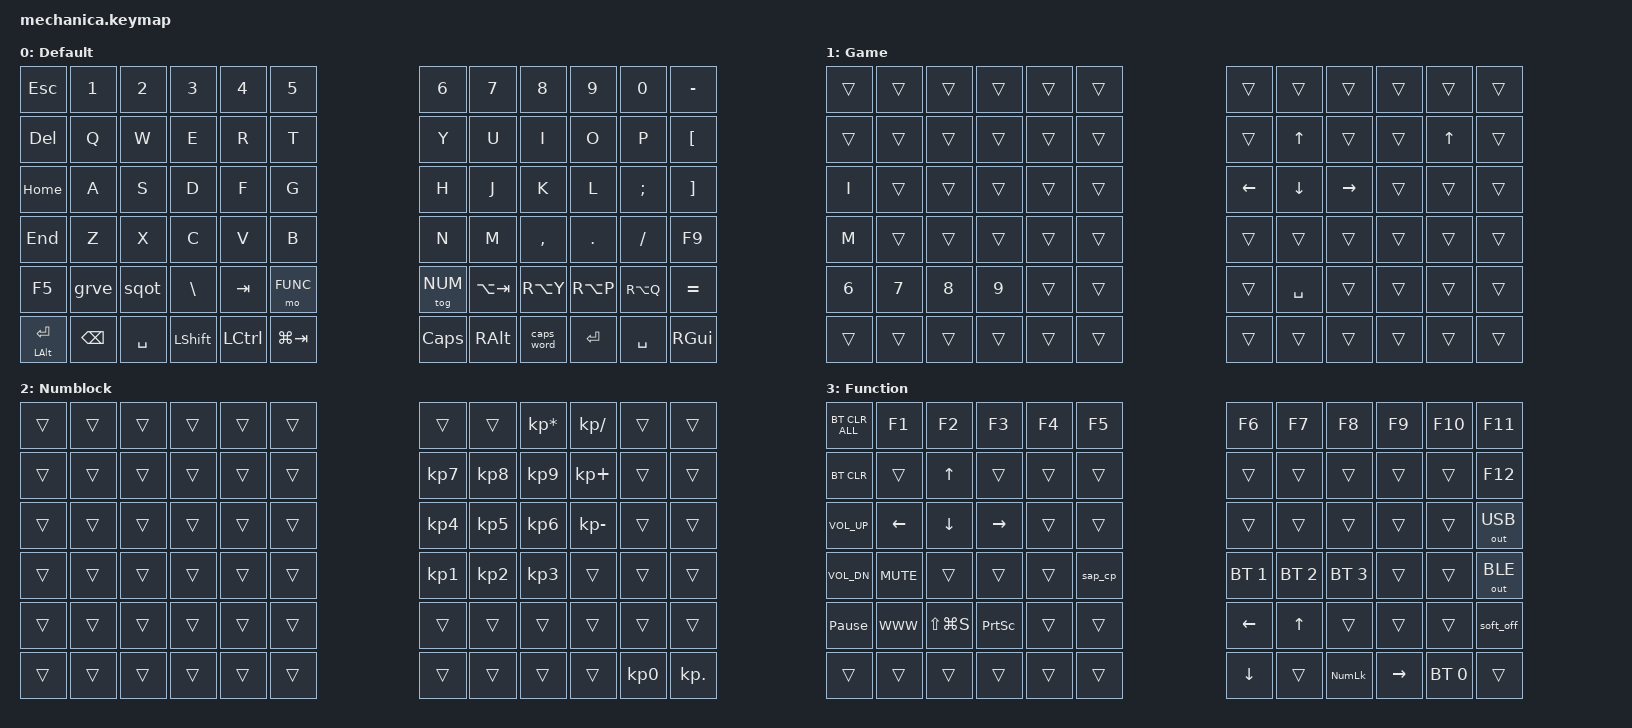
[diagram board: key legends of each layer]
#include <behaviors.dtsi>
#include <dt-bindings/zmk/keys.h>
#include <dt-bindings/zmk/bt.h>
#include <dt-bindings/zmk/rgb.h>
#include <dt-bindings/zmk/outputs.h>

#define DEFAULT 0
#define GAME    1
#define NUM     2
#define FUNC    3


#define COMBO(name, kp, pos) \
combo_##name {               \
    timeout-ms    = <30>;    \
    bindings      = <kp>;    \
    key-positions = <pos>;   \
    layers        = <0 1>;   \
};
/* Key positions
 0  1  2  3  4  5 48       59  6  7  8  9 10 11
12 13 14 15 16 17 49       58 18 19 20 21 22 23
24 25 26 27 28 29 50       57 30 31 32 33 34 35
36 37 38 39 40 41 51       56 42 43 44 45 46 47
         60 61 62             69 70 71
             64 65 52     55 66 67
            63       53  54       68
*/
&soft_off {
    hold-time-ms = <2000>; // Only turn off it the key is held for 5 seconds or longer.
};

/ {
    combos {
        compatible = "zmk,combos";
        COMBO(boot,   &bootloader,   11 47)
        COMBO(autotype,&kp LC(LA(A)),24 25)
        COMBO(grve, &kp GRAVE,       17 49)
        COMBO(sqot, &kp SQT,         29 50)
        COMBO(game, &tog GAME,       11 23)
        COMBO(deskr, &kp LG(LC(RIGHT)), 55 69)
        COMBO(deskl, &kp LG(LC(LEFT)), 54 55)
    };
};

/ {
    macros {
        sap_cp: sap_cp {
            compatible = "zmk,behavior-macro";
            #binding-cells = <0>;
            bindings
                = <&kp LC(F11)>
                , <&macro_pause_for_release>
                , <&kp LC(F12)>
                ;
        };
        grve: grve {
            compatible = "zmk,behavior-macro";
            #binding-cells = <0>;
            bindings
                = <&kp GRAVE>
                , <&kp SPACE>
                ;
        };
        sqot: sqot {
            compatible = "zmk,behavior-macro";
            #binding-cells = <0>;
            bindings
                = <&kp SQT>
                , <&kp SPACE>
                ;
        };
    };
};

/ {
        keymap {
                compatible = "zmk,keymap";

                default_layer {
                    display-name = "Default";
                        bindings = <
// -----0---------1---------2---------3---------4---------5-------------------------6---------7---------8---------9--------10--------11-----
// |   ESC   |    1    |    2    |    3    |    4    |    5    |               |    6    |    7    |    8    |    9    |    0    |    -    |
    &kp ESC    &kp N1    &kp N2   &kp N3    &kp N4    &kp N5                    &kp N6     &kp N7    &kp N8    &kp N9    &kp N0    &kp MINUS
// ----12--------13--------14--------15--------16--------17------------------------18--------19--------20--------21--------22--------23-----
// |   DEL   |    Q    |    W    |    E    |    R    |    T    |               |    Y    |    U    |    I    |    O    |    P    |    [    |
    &kp DEL    &kp Q     &kp W     &kp E     &kp R     &kp T                     &kp Y      &kp U     &kp I     &kp O     &kp P     &kp LBKT
// ----24--------25--------26--------27--------28--------29------------------------30--------31--------32--------33--------34--------35-----
// |   HOME  |    A    |    S    |    D    |    F    |    G    |               |    H    |    J    |    K    |    L    |    ;    |    ]    |
    &kp HOME   &kp A     &kp S     &kp D     &kp F     &kp G                     &kp H      &kp J     &kp K     &kp L     &kp SEMI  &kp RBKT
// ----36--------37--------38--------39--------40--------41------------------------42--------43--------44--------45--------46--------47-----
// |   END   |    Z    |    X    |    C    |    V    |    B    |               |    N    |    M    |    ,    |    .    |    /    |    F9   |
    &kp END    &kp Z     &kp X     &kp C     &kp V     &kp B                     &kp N      &kp M     &kp COMMA &kp DOT   &kp SLASH &kp F9  
// ----48--------49--------50--------51--------52--------53------------------------54--------55--------56--------57--------58--------59-----
// |   F5    |    `    |    '    |    \    |    TAB  |    FL   |               |    NL   | ALT/TAB |    Ü    |    Ö    |    Ä    |    +    |
    &kp F5      &grve     &sqot    &kp BSLH  &kp TAB   &mo FUNC                  &tog NUM &kp LA(TAB) &kp RA(Y) &kp RA(P) &kp RA(Q) &kp EQUAL
// ----60--------61--------62--------63--------64--------65------------------------66--------67--------68--------69--------70--------71-----
// | ALT/ENT |   BSPC  |   SPC   |   LSHFT |    LCTL | WIN/TAB |               |   CAPS  |   RALT  |   RSHFT |    ENT  |   SPC   |    WIN  |
&mt LALT ENTER &kp BSPC  &kp SPACE &kp LSHFT &kp LCTRL &kp LG(TAB)               &kp CAPS  &kp RALT &caps_word &kp ENTER &kp SPACE &kp RGUI
                                >;
                        };
                game_layer {
                    display-name = "Game";
                        bindings = <
// --------------------------------------------------------------------------------------------------------------------------------------------------------------------
// |         |         |         |         |         |         |               |         |         |         |         |         |         |
     &trans    &trans    &trans    &trans    &trans    &trans                    &trans    &trans    &trans    &trans    &trans    &trans
// |         |         |         |         |         |         |               |         |   UP    |         |         |         |         |
     &trans    &trans    &trans    &trans    &trans    &trans                    &trans    &kp UP    &trans    &trans    &kp UP    &trans
// |         |         |         |         |         |         |               |   LEFT  |  DOWN    |  RIGHT |         |         |         |
     &kp I     &trans    &trans    &trans    &trans    &trans                    &kp LEFT  &kp DOWN  &kp RIGHT  &trans   &trans    &trans
// |         |         |         |         |         |         |               |         |         |         |         |         |         |
     &kp M     &trans    &trans    &trans    &trans    &trans                    &trans    &trans    &trans    &trans    &trans    &trans
// |         |         |         |         |         |         |               |         |  SPACE  |         |         |         |         |
     &kp N6    &kp N7    &kp N8    &kp N9    &trans    &trans                    &trans    &kp SPACE  &trans    &trans    &trans    &trans
// |         |         |         |         |         |         |               |         |         |         |         |         |         |
     &trans    &trans    &trans    &trans    &trans    &trans                    &trans    &trans    &trans    &trans    &trans    &trans
                                >;
                        };
                num_layer {
                    display-name = "Numblock";
                        bindings = <
// --------------------------------------------------------------------------------------------------------------------------------------------------------------------
// |         |         |         |         |         |         |               |         |         |    *    |    /    |         |         |
     &trans    &trans    &trans    &trans    &trans    &trans                    &trans    &trans &kp KP_ASTERISK &kp KP_DIVIDE &trans &trans
// |         |         |         |         |         |         |               |    7    |    8    |    9    |    -    |         |         |
     &trans    &trans    &trans    &trans    &trans    &trans                   &kp KP_N7  &kp KP_N8 &kp KP_N9 &kp KP_PLUS &trans  &trans
// |         |         |         |         |         |         |               |    4    |    5    |    6    |    +    |         |         |
     &trans    &trans    &trans    &trans    &trans    &trans                   &kp KP_N4  &kp KP_N5 &kp KP_N6 &kp KP_MINUS &trans &trans
// |         |         |         |         |         |         |               |    1    |    2    |    3    |         |         |         |
     &trans    &trans    &trans    &trans    &trans    &trans                   &kp KP_N1  &kp KP_N2 &kp KP_N3 &trans    &trans    &trans
// |         |         |         |         |         |         |               |         |         |         |         |         |         |
     &trans    &trans    &trans    &trans    &trans    &trans                    &trans    &trans    &trans    &trans    &trans    &trans
// |         |         |         |         |         |         |               |         |         |         |         |    0    |    .    |
     &trans    &trans    &trans    &trans    &trans    &trans                    &trans    &trans    &trans    &trans   &kp KP_N0 &kp KP_DOT
                                >;
                        };
                func_layer {
                    display-name = "Function";
                        bindings = <
// --------------------------------------------------------------------------------------------------------------------------------------------------------------------
// | BT CLR ALL | F1   |    F2   |    F3   |    F4   |    F5   |               |    F6   |    F7   |    F8   |    F9   |    F10  |    F11  |
    &bt BT_CLR_ALL &kp F1 &kp F2    &kp F3    &kp F4    &kp F5                    &kp F6     &kp F7    &kp F8    &kp F9    &kp F10   &kp F11
// | BT CLR  |         |    UP   |         |         |         |               |         |         |         |         |         |    F12  |
    &bt BT_CLR  &trans   &kp UP    &trans    &trans    &trans                    &trans    &trans    &trans    &trans    &trans    &kp F12
// |   VOLUP |   LEFT  |   DOWN  |  RIGHT  |         |         |               |         |         |         |         |         |   USB   |
    &kp C_VOL_UP &kp LEFT  &kp DOWN  &kp RIGHT &trans  &trans                    &trans    &trans    &trans    &trans    &trans  &out OUT_USB
// |  VOLDWN |         |         |         |         |CTLF11 12|               |  BLE 1  |  BLE 2  |  BLE 3  |         |         | BLUETOOTH |
  &kp C_VOL_DN &kp C_MUTE  &trans  &trans    &trans    &sap_cp                &bt BT_SEL 1 &bt BT_SEL 2 &bt BT_SEL 3 &trans &trans &out OUT_BLE
// |   PAUSE |   WHOM  |SFT GUI S|   PSCR  |         |         |               |   LEFT  |   UP    |         |         |         |         |
    &kp PAUSE_BREAK &kp K_WWW &kp LS(LG(S)) &kp PSCRN &trans &trans             &kp LEFT   &kp UP    &trans    &trans    &trans   &soft_off
// |         |         |         |         |         |         |               |   DOWN  |         |   NUM   |   RIGHT |  BLE 0  |         |
     &trans    &trans    &trans    &trans    &trans    &trans                   &kp DOWN   &trans  &kp KP_NUM &kp RIGHT &bt BT_SEL 0 &trans
                                >;
                        };
        };
};
